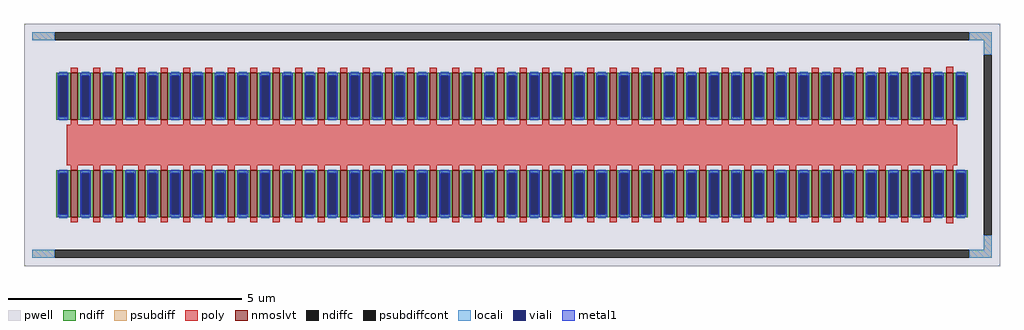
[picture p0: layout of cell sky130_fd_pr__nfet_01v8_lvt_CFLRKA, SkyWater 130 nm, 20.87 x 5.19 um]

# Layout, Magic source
magic
tech sky130A
magscale 1 2
<< pwell >>
rect -2087 -519 2087 519
<< nmoslvt >>
rect -1887 109 -1857 309
rect -1791 109 -1761 309
rect -1695 109 -1665 309
rect -1599 109 -1569 309
rect -1503 109 -1473 309
rect -1407 109 -1377 309
rect -1311 109 -1281 309
rect -1215 109 -1185 309
rect -1119 109 -1089 309
rect -1023 109 -993 309
rect -927 109 -897 309
rect -831 109 -801 309
rect -735 109 -705 309
rect -639 109 -609 309
rect -543 109 -513 309
rect -447 109 -417 309
rect -351 109 -321 309
rect -255 109 -225 309
rect -159 109 -129 309
rect -63 109 -33 309
rect 33 109 63 309
rect 129 109 159 309
rect 225 109 255 309
rect 321 109 351 309
rect 417 109 447 309
rect 513 109 543 309
rect 609 109 639 309
rect 705 109 735 309
rect 801 109 831 309
rect 897 109 927 309
rect 993 109 1023 309
rect 1089 109 1119 309
rect 1185 109 1215 309
rect 1281 109 1311 309
rect 1377 109 1407 309
rect 1473 109 1503 309
rect 1569 109 1599 309
rect 1665 109 1695 309
rect 1761 109 1791 309
rect 1857 109 1887 309
rect -1887 -309 -1857 -109
rect -1791 -309 -1761 -109
rect -1695 -309 -1665 -109
rect -1599 -309 -1569 -109
rect -1503 -309 -1473 -109
rect -1407 -309 -1377 -109
rect -1311 -309 -1281 -109
rect -1215 -309 -1185 -109
rect -1119 -309 -1089 -109
rect -1023 -309 -993 -109
rect -927 -309 -897 -109
rect -831 -309 -801 -109
rect -735 -309 -705 -109
rect -639 -309 -609 -109
rect -543 -309 -513 -109
rect -447 -309 -417 -109
rect -351 -309 -321 -109
rect -255 -309 -225 -109
rect -159 -309 -129 -109
rect -63 -309 -33 -109
rect 33 -309 63 -109
rect 129 -309 159 -109
rect 225 -309 255 -109
rect 321 -309 351 -109
rect 417 -309 447 -109
rect 513 -309 543 -109
rect 609 -309 639 -109
rect 705 -309 735 -109
rect 801 -309 831 -109
rect 897 -309 927 -109
rect 993 -309 1023 -109
rect 1089 -309 1119 -109
rect 1185 -309 1215 -109
rect 1281 -309 1311 -109
rect 1377 -309 1407 -109
rect 1473 -309 1503 -109
rect 1569 -309 1599 -109
rect 1665 -309 1695 -109
rect 1761 -309 1791 -109
rect 1857 -309 1887 -109
<< ndiff >>
rect -1949 297 -1887 309
rect -1949 121 -1937 297
rect -1903 121 -1887 297
rect -1949 109 -1887 121
rect -1857 297 -1791 309
rect -1857 121 -1841 297
rect -1807 121 -1791 297
rect -1857 109 -1791 121
rect -1761 297 -1695 309
rect -1761 121 -1745 297
rect -1711 121 -1695 297
rect -1761 109 -1695 121
rect -1665 297 -1599 309
rect -1665 121 -1649 297
rect -1615 121 -1599 297
rect -1665 109 -1599 121
rect -1569 297 -1503 309
rect -1569 121 -1553 297
rect -1519 121 -1503 297
rect -1569 109 -1503 121
rect -1473 297 -1407 309
rect -1473 121 -1457 297
rect -1423 121 -1407 297
rect -1473 109 -1407 121
rect -1377 297 -1311 309
rect -1377 121 -1361 297
rect -1327 121 -1311 297
rect -1377 109 -1311 121
rect -1281 297 -1215 309
rect -1281 121 -1265 297
rect -1231 121 -1215 297
rect -1281 109 -1215 121
rect -1185 297 -1119 309
rect -1185 121 -1169 297
rect -1135 121 -1119 297
rect -1185 109 -1119 121
rect -1089 297 -1023 309
rect -1089 121 -1073 297
rect -1039 121 -1023 297
rect -1089 109 -1023 121
rect -993 297 -927 309
rect -993 121 -977 297
rect -943 121 -927 297
rect -993 109 -927 121
rect -897 297 -831 309
rect -897 121 -881 297
rect -847 121 -831 297
rect -897 109 -831 121
rect -801 297 -735 309
rect -801 121 -785 297
rect -751 121 -735 297
rect -801 109 -735 121
rect -705 297 -639 309
rect -705 121 -689 297
rect -655 121 -639 297
rect -705 109 -639 121
rect -609 297 -543 309
rect -609 121 -593 297
rect -559 121 -543 297
rect -609 109 -543 121
rect -513 297 -447 309
rect -513 121 -497 297
rect -463 121 -447 297
rect -513 109 -447 121
rect -417 297 -351 309
rect -417 121 -401 297
rect -367 121 -351 297
rect -417 109 -351 121
rect -321 297 -255 309
rect -321 121 -305 297
rect -271 121 -255 297
rect -321 109 -255 121
rect -225 297 -159 309
rect -225 121 -209 297
rect -175 121 -159 297
rect -225 109 -159 121
rect -129 297 -63 309
rect -129 121 -113 297
rect -79 121 -63 297
rect -129 109 -63 121
rect -33 297 33 309
rect -33 121 -17 297
rect 17 121 33 297
rect -33 109 33 121
rect 63 297 129 309
rect 63 121 79 297
rect 113 121 129 297
rect 63 109 129 121
rect 159 297 225 309
rect 159 121 175 297
rect 209 121 225 297
rect 159 109 225 121
rect 255 297 321 309
rect 255 121 271 297
rect 305 121 321 297
rect 255 109 321 121
rect 351 297 417 309
rect 351 121 367 297
rect 401 121 417 297
rect 351 109 417 121
rect 447 297 513 309
rect 447 121 463 297
rect 497 121 513 297
rect 447 109 513 121
rect 543 297 609 309
rect 543 121 559 297
rect 593 121 609 297
rect 543 109 609 121
rect 639 297 705 309
rect 639 121 655 297
rect 689 121 705 297
rect 639 109 705 121
rect 735 297 801 309
rect 735 121 751 297
rect 785 121 801 297
rect 735 109 801 121
rect 831 297 897 309
rect 831 121 847 297
rect 881 121 897 297
rect 831 109 897 121
rect 927 297 993 309
rect 927 121 943 297
rect 977 121 993 297
rect 927 109 993 121
rect 1023 297 1089 309
rect 1023 121 1039 297
rect 1073 121 1089 297
rect 1023 109 1089 121
rect 1119 297 1185 309
rect 1119 121 1135 297
rect 1169 121 1185 297
rect 1119 109 1185 121
rect 1215 297 1281 309
rect 1215 121 1231 297
rect 1265 121 1281 297
rect 1215 109 1281 121
rect 1311 297 1377 309
rect 1311 121 1327 297
rect 1361 121 1377 297
rect 1311 109 1377 121
rect 1407 297 1473 309
rect 1407 121 1423 297
rect 1457 121 1473 297
rect 1407 109 1473 121
rect 1503 297 1569 309
rect 1503 121 1519 297
rect 1553 121 1569 297
rect 1503 109 1569 121
rect 1599 297 1665 309
rect 1599 121 1615 297
rect 1649 121 1665 297
rect 1599 109 1665 121
rect 1695 297 1761 309
rect 1695 121 1711 297
rect 1745 121 1761 297
rect 1695 109 1761 121
rect 1791 297 1857 309
rect 1791 121 1807 297
rect 1841 121 1857 297
rect 1791 109 1857 121
rect 1887 297 1949 309
rect 1887 121 1903 297
rect 1937 121 1949 297
rect 1887 109 1949 121
rect -1949 -121 -1887 -109
rect -1949 -297 -1937 -121
rect -1903 -297 -1887 -121
rect -1949 -309 -1887 -297
rect -1857 -121 -1791 -109
rect -1857 -297 -1841 -121
rect -1807 -297 -1791 -121
rect -1857 -309 -1791 -297
rect -1761 -121 -1695 -109
rect -1761 -297 -1745 -121
rect -1711 -297 -1695 -121
rect -1761 -309 -1695 -297
rect -1665 -121 -1599 -109
rect -1665 -297 -1649 -121
rect -1615 -297 -1599 -121
rect -1665 -309 -1599 -297
rect -1569 -121 -1503 -109
rect -1569 -297 -1553 -121
rect -1519 -297 -1503 -121
rect -1569 -309 -1503 -297
rect -1473 -121 -1407 -109
rect -1473 -297 -1457 -121
rect -1423 -297 -1407 -121
rect -1473 -309 -1407 -297
rect -1377 -121 -1311 -109
rect -1377 -297 -1361 -121
rect -1327 -297 -1311 -121
rect -1377 -309 -1311 -297
rect -1281 -121 -1215 -109
rect -1281 -297 -1265 -121
rect -1231 -297 -1215 -121
rect -1281 -309 -1215 -297
rect -1185 -121 -1119 -109
rect -1185 -297 -1169 -121
rect -1135 -297 -1119 -121
rect -1185 -309 -1119 -297
rect -1089 -121 -1023 -109
rect -1089 -297 -1073 -121
rect -1039 -297 -1023 -121
rect -1089 -309 -1023 -297
rect -993 -121 -927 -109
rect -993 -297 -977 -121
rect -943 -297 -927 -121
rect -993 -309 -927 -297
rect -897 -121 -831 -109
rect -897 -297 -881 -121
rect -847 -297 -831 -121
rect -897 -309 -831 -297
rect -801 -121 -735 -109
rect -801 -297 -785 -121
rect -751 -297 -735 -121
rect -801 -309 -735 -297
rect -705 -121 -639 -109
rect -705 -297 -689 -121
rect -655 -297 -639 -121
rect -705 -309 -639 -297
rect -609 -121 -543 -109
rect -609 -297 -593 -121
rect -559 -297 -543 -121
rect -609 -309 -543 -297
rect -513 -121 -447 -109
rect -513 -297 -497 -121
rect -463 -297 -447 -121
rect -513 -309 -447 -297
rect -417 -121 -351 -109
rect -417 -297 -401 -121
rect -367 -297 -351 -121
rect -417 -309 -351 -297
rect -321 -121 -255 -109
rect -321 -297 -305 -121
rect -271 -297 -255 -121
rect -321 -309 -255 -297
rect -225 -121 -159 -109
rect -225 -297 -209 -121
rect -175 -297 -159 -121
rect -225 -309 -159 -297
rect -129 -121 -63 -109
rect -129 -297 -113 -121
rect -79 -297 -63 -121
rect -129 -309 -63 -297
rect -33 -121 33 -109
rect -33 -297 -17 -121
rect 17 -297 33 -121
rect -33 -309 33 -297
rect 63 -121 129 -109
rect 63 -297 79 -121
rect 113 -297 129 -121
rect 63 -309 129 -297
rect 159 -121 225 -109
rect 159 -297 175 -121
rect 209 -297 225 -121
rect 159 -309 225 -297
rect 255 -121 321 -109
rect 255 -297 271 -121
rect 305 -297 321 -121
rect 255 -309 321 -297
rect 351 -121 417 -109
rect 351 -297 367 -121
rect 401 -297 417 -121
rect 351 -309 417 -297
rect 447 -121 513 -109
rect 447 -297 463 -121
rect 497 -297 513 -121
rect 447 -309 513 -297
rect 543 -121 609 -109
rect 543 -297 559 -121
rect 593 -297 609 -121
rect 543 -309 609 -297
rect 639 -121 705 -109
rect 639 -297 655 -121
rect 689 -297 705 -121
rect 639 -309 705 -297
rect 735 -121 801 -109
rect 735 -297 751 -121
rect 785 -297 801 -121
rect 735 -309 801 -297
rect 831 -121 897 -109
rect 831 -297 847 -121
rect 881 -297 897 -121
rect 831 -309 897 -297
rect 927 -121 993 -109
rect 927 -297 943 -121
rect 977 -297 993 -121
rect 927 -309 993 -297
rect 1023 -121 1089 -109
rect 1023 -297 1039 -121
rect 1073 -297 1089 -121
rect 1023 -309 1089 -297
rect 1119 -121 1185 -109
rect 1119 -297 1135 -121
rect 1169 -297 1185 -121
rect 1119 -309 1185 -297
rect 1215 -121 1281 -109
rect 1215 -297 1231 -121
rect 1265 -297 1281 -121
rect 1215 -309 1281 -297
rect 1311 -121 1377 -109
rect 1311 -297 1327 -121
rect 1361 -297 1377 -121
rect 1311 -309 1377 -297
rect 1407 -121 1473 -109
rect 1407 -297 1423 -121
rect 1457 -297 1473 -121
rect 1407 -309 1473 -297
rect 1503 -121 1569 -109
rect 1503 -297 1519 -121
rect 1553 -297 1569 -121
rect 1503 -309 1569 -297
rect 1599 -121 1665 -109
rect 1599 -297 1615 -121
rect 1649 -297 1665 -121
rect 1599 -309 1665 -297
rect 1695 -121 1761 -109
rect 1695 -297 1711 -121
rect 1745 -297 1761 -121
rect 1695 -309 1761 -297
rect 1791 -121 1857 -109
rect 1791 -297 1807 -121
rect 1841 -297 1857 -121
rect 1791 -309 1857 -297
rect 1887 -121 1949 -109
rect 1887 -297 1903 -121
rect 1937 -297 1949 -121
rect 1887 -309 1949 -297
<< ndiffc >>
rect -1937 121 -1903 297
rect -1841 121 -1807 297
rect -1745 121 -1711 297
rect -1649 121 -1615 297
rect -1553 121 -1519 297
rect -1457 121 -1423 297
rect -1361 121 -1327 297
rect -1265 121 -1231 297
rect -1169 121 -1135 297
rect -1073 121 -1039 297
rect -977 121 -943 297
rect -881 121 -847 297
rect -785 121 -751 297
rect -689 121 -655 297
rect -593 121 -559 297
rect -497 121 -463 297
rect -401 121 -367 297
rect -305 121 -271 297
rect -209 121 -175 297
rect -113 121 -79 297
rect -17 121 17 297
rect 79 121 113 297
rect 175 121 209 297
rect 271 121 305 297
rect 367 121 401 297
rect 463 121 497 297
rect 559 121 593 297
rect 655 121 689 297
rect 751 121 785 297
rect 847 121 881 297
rect 943 121 977 297
rect 1039 121 1073 297
rect 1135 121 1169 297
rect 1231 121 1265 297
rect 1327 121 1361 297
rect 1423 121 1457 297
rect 1519 121 1553 297
rect 1615 121 1649 297
rect 1711 121 1745 297
rect 1807 121 1841 297
rect 1903 121 1937 297
rect -1937 -297 -1903 -121
rect -1841 -297 -1807 -121
rect -1745 -297 -1711 -121
rect -1649 -297 -1615 -121
rect -1553 -297 -1519 -121
rect -1457 -297 -1423 -121
rect -1361 -297 -1327 -121
rect -1265 -297 -1231 -121
rect -1169 -297 -1135 -121
rect -1073 -297 -1039 -121
rect -977 -297 -943 -121
rect -881 -297 -847 -121
rect -785 -297 -751 -121
rect -689 -297 -655 -121
rect -593 -297 -559 -121
rect -497 -297 -463 -121
rect -401 -297 -367 -121
rect -305 -297 -271 -121
rect -209 -297 -175 -121
rect -113 -297 -79 -121
rect -17 -297 17 -121
rect 79 -297 113 -121
rect 175 -297 209 -121
rect 271 -297 305 -121
rect 367 -297 401 -121
rect 463 -297 497 -121
rect 559 -297 593 -121
rect 655 -297 689 -121
rect 751 -297 785 -121
rect 847 -297 881 -121
rect 943 -297 977 -121
rect 1039 -297 1073 -121
rect 1135 -297 1169 -121
rect 1231 -297 1265 -121
rect 1327 -297 1361 -121
rect 1423 -297 1457 -121
rect 1519 -297 1553 -121
rect 1615 -297 1649 -121
rect 1711 -297 1745 -121
rect 1807 -297 1841 -121
rect 1903 -297 1937 -121
<< psubdiff >>
rect -2051 449 -1955 483
rect 1955 449 2051 483
rect 2017 387 2051 449
rect 2017 -449 2051 -387
rect -2051 -483 -1955 -449
rect 1955 -483 2051 -449
<< psubdiffcont >>
rect -1955 449 1955 483
rect 2017 -387 2051 387
rect -1955 -483 1955 -449
<< poly >>
rect -1887 309 -1857 331
rect -1791 309 -1761 331
rect -1695 309 -1665 331
rect -1599 309 -1569 331
rect -1503 309 -1473 331
rect -1407 309 -1377 331
rect -1311 309 -1281 331
rect -1215 309 -1185 331
rect -1119 309 -1089 331
rect -1023 309 -993 331
rect -927 309 -897 331
rect -831 309 -801 331
rect -735 309 -705 331
rect -639 309 -609 331
rect -543 309 -513 331
rect -447 309 -417 331
rect -351 309 -321 331
rect -255 309 -225 331
rect -159 309 -129 331
rect -63 309 -33 331
rect 33 309 63 331
rect 129 309 159 331
rect 225 309 255 331
rect 321 309 351 331
rect 417 309 447 331
rect 513 309 543 331
rect 609 309 639 331
rect 705 309 735 331
rect 801 309 831 331
rect 897 309 927 331
rect 993 309 1023 331
rect 1089 309 1119 331
rect 1185 309 1215 331
rect 1281 309 1311 331
rect 1377 309 1407 331
rect 1473 309 1503 331
rect 1569 309 1599 331
rect 1665 309 1695 331
rect 1761 309 1791 331
rect 1857 309 1887 335
rect -1887 87 -1857 109
rect -1791 87 -1761 109
rect -1695 87 -1665 109
rect -1599 87 -1569 109
rect -1503 87 -1473 109
rect -1407 87 -1377 109
rect -1311 87 -1281 109
rect -1215 87 -1185 109
rect -1119 87 -1089 109
rect -1023 87 -993 109
rect -927 87 -897 109
rect -831 87 -801 109
rect -735 87 -705 109
rect -639 87 -609 109
rect -543 87 -513 109
rect -447 87 -417 109
rect -351 87 -321 109
rect -255 87 -225 109
rect -159 87 -129 109
rect -63 87 -33 109
rect 33 87 63 109
rect 129 87 159 109
rect 225 87 255 109
rect 321 87 351 109
rect 417 87 447 109
rect 513 87 543 109
rect 609 87 639 109
rect 705 87 735 109
rect 801 87 831 109
rect 897 87 927 109
rect 993 87 1023 109
rect 1089 87 1119 109
rect 1185 87 1215 109
rect 1281 87 1311 109
rect 1377 87 1407 109
rect 1473 87 1503 109
rect 1569 87 1599 109
rect 1665 87 1695 109
rect 1761 87 1791 109
rect 1857 87 1887 109
rect -1905 -87 1905 87
rect -1887 -109 -1857 -87
rect -1791 -109 -1761 -87
rect -1695 -109 -1665 -87
rect -1599 -109 -1569 -87
rect -1503 -109 -1473 -87
rect -1407 -109 -1377 -87
rect -1311 -109 -1281 -87
rect -1215 -109 -1185 -87
rect -1119 -109 -1089 -87
rect -1023 -109 -993 -87
rect -927 -109 -897 -87
rect -831 -109 -801 -87
rect -735 -109 -705 -87
rect -639 -109 -609 -87
rect -543 -109 -513 -87
rect -447 -109 -417 -87
rect -351 -109 -321 -87
rect -255 -109 -225 -87
rect -159 -109 -129 -87
rect -63 -109 -33 -87
rect 33 -109 63 -87
rect 129 -109 159 -87
rect 225 -109 255 -87
rect 321 -109 351 -87
rect 417 -109 447 -87
rect 513 -109 543 -87
rect 609 -109 639 -87
rect 705 -109 735 -87
rect 801 -109 831 -87
rect 897 -109 927 -87
rect 993 -109 1023 -87
rect 1089 -109 1119 -87
rect 1185 -109 1215 -87
rect 1281 -109 1311 -87
rect 1377 -109 1407 -87
rect 1473 -109 1503 -87
rect 1569 -109 1599 -87
rect 1665 -109 1695 -87
rect 1761 -109 1791 -87
rect 1857 -109 1887 -87
rect -1887 -331 -1857 -309
rect -1791 -331 -1761 -309
rect -1695 -331 -1665 -309
rect -1599 -331 -1569 -309
rect -1503 -331 -1473 -309
rect -1407 -331 -1377 -309
rect -1311 -331 -1281 -309
rect -1215 -331 -1185 -309
rect -1119 -331 -1089 -309
rect -1023 -331 -993 -309
rect -927 -331 -897 -309
rect -831 -331 -801 -309
rect -735 -331 -705 -309
rect -639 -331 -609 -309
rect -543 -331 -513 -309
rect -447 -331 -417 -309
rect -351 -331 -321 -309
rect -255 -331 -225 -309
rect -159 -331 -129 -309
rect -63 -331 -33 -309
rect 33 -331 63 -309
rect 129 -331 159 -309
rect 225 -331 255 -309
rect 321 -331 351 -309
rect 417 -331 447 -309
rect 513 -331 543 -309
rect 609 -331 639 -309
rect 705 -331 735 -309
rect 801 -331 831 -309
rect 897 -331 927 -309
rect 993 -331 1023 -309
rect 1089 -331 1119 -309
rect 1185 -331 1215 -309
rect 1281 -331 1311 -309
rect 1377 -331 1407 -309
rect 1473 -331 1503 -309
rect 1569 -331 1599 -309
rect 1665 -331 1695 -309
rect 1761 -331 1791 -309
rect 1857 -335 1887 -309
<< locali >>
rect -2051 449 -1955 483
rect 1955 449 2051 483
rect 2017 387 2051 449
rect -1937 297 -1903 313
rect -1937 105 -1903 121
rect -1841 297 -1807 313
rect -1841 105 -1807 121
rect -1745 297 -1711 313
rect -1745 105 -1711 121
rect -1649 297 -1615 313
rect -1649 105 -1615 121
rect -1553 297 -1519 313
rect -1553 105 -1519 121
rect -1457 297 -1423 313
rect -1457 105 -1423 121
rect -1361 297 -1327 313
rect -1361 105 -1327 121
rect -1265 297 -1231 313
rect -1265 105 -1231 121
rect -1169 297 -1135 313
rect -1169 105 -1135 121
rect -1073 297 -1039 313
rect -1073 105 -1039 121
rect -977 297 -943 313
rect -977 105 -943 121
rect -881 297 -847 313
rect -881 105 -847 121
rect -785 297 -751 313
rect -785 105 -751 121
rect -689 297 -655 313
rect -689 105 -655 121
rect -593 297 -559 313
rect -593 105 -559 121
rect -497 297 -463 313
rect -497 105 -463 121
rect -401 297 -367 313
rect -401 105 -367 121
rect -305 297 -271 313
rect -305 105 -271 121
rect -209 297 -175 313
rect -209 105 -175 121
rect -113 297 -79 313
rect -113 105 -79 121
rect -17 297 17 313
rect -17 105 17 121
rect 79 297 113 313
rect 79 105 113 121
rect 175 297 209 313
rect 175 105 209 121
rect 271 297 305 313
rect 271 105 305 121
rect 367 297 401 313
rect 367 105 401 121
rect 463 297 497 313
rect 463 105 497 121
rect 559 297 593 313
rect 559 105 593 121
rect 655 297 689 313
rect 655 105 689 121
rect 751 297 785 313
rect 751 105 785 121
rect 847 297 881 313
rect 847 105 881 121
rect 943 297 977 313
rect 943 105 977 121
rect 1039 297 1073 313
rect 1039 105 1073 121
rect 1135 297 1169 313
rect 1135 105 1169 121
rect 1231 297 1265 313
rect 1231 105 1265 121
rect 1327 297 1361 313
rect 1327 105 1361 121
rect 1423 297 1457 313
rect 1423 105 1457 121
rect 1519 297 1553 313
rect 1519 105 1553 121
rect 1615 297 1649 313
rect 1615 105 1649 121
rect 1711 297 1745 313
rect 1711 105 1745 121
rect 1807 297 1841 313
rect 1807 105 1841 121
rect 1903 297 1937 313
rect 1903 105 1937 121
rect -1937 -121 -1903 -105
rect -1937 -313 -1903 -297
rect -1841 -121 -1807 -105
rect -1841 -313 -1807 -297
rect -1745 -121 -1711 -105
rect -1745 -313 -1711 -297
rect -1649 -121 -1615 -105
rect -1649 -313 -1615 -297
rect -1553 -121 -1519 -105
rect -1553 -313 -1519 -297
rect -1457 -121 -1423 -105
rect -1457 -313 -1423 -297
rect -1361 -121 -1327 -105
rect -1361 -313 -1327 -297
rect -1265 -121 -1231 -105
rect -1265 -313 -1231 -297
rect -1169 -121 -1135 -105
rect -1169 -313 -1135 -297
rect -1073 -121 -1039 -105
rect -1073 -313 -1039 -297
rect -977 -121 -943 -105
rect -977 -313 -943 -297
rect -881 -121 -847 -105
rect -881 -313 -847 -297
rect -785 -121 -751 -105
rect -785 -313 -751 -297
rect -689 -121 -655 -105
rect -689 -313 -655 -297
rect -593 -121 -559 -105
rect -593 -313 -559 -297
rect -497 -121 -463 -105
rect -497 -313 -463 -297
rect -401 -121 -367 -105
rect -401 -313 -367 -297
rect -305 -121 -271 -105
rect -305 -313 -271 -297
rect -209 -121 -175 -105
rect -209 -313 -175 -297
rect -113 -121 -79 -105
rect -113 -313 -79 -297
rect -17 -121 17 -105
rect -17 -313 17 -297
rect 79 -121 113 -105
rect 79 -313 113 -297
rect 175 -121 209 -105
rect 175 -313 209 -297
rect 271 -121 305 -105
rect 271 -313 305 -297
rect 367 -121 401 -105
rect 367 -313 401 -297
rect 463 -121 497 -105
rect 463 -313 497 -297
rect 559 -121 593 -105
rect 559 -313 593 -297
rect 655 -121 689 -105
rect 655 -313 689 -297
rect 751 -121 785 -105
rect 751 -313 785 -297
rect 847 -121 881 -105
rect 847 -313 881 -297
rect 943 -121 977 -105
rect 943 -313 977 -297
rect 1039 -121 1073 -105
rect 1039 -313 1073 -297
rect 1135 -121 1169 -105
rect 1135 -313 1169 -297
rect 1231 -121 1265 -105
rect 1231 -313 1265 -297
rect 1327 -121 1361 -105
rect 1327 -313 1361 -297
rect 1423 -121 1457 -105
rect 1423 -313 1457 -297
rect 1519 -121 1553 -105
rect 1519 -313 1553 -297
rect 1615 -121 1649 -105
rect 1615 -313 1649 -297
rect 1711 -121 1745 -105
rect 1711 -313 1745 -297
rect 1807 -121 1841 -105
rect 1807 -313 1841 -297
rect 1903 -121 1937 -105
rect 1903 -313 1937 -297
rect 2017 -449 2051 -387
rect -2051 -483 -1955 -449
rect 1955 -483 2051 -449
<< viali >>
rect -1937 121 -1903 297
rect -1841 121 -1807 297
rect -1745 121 -1711 297
rect -1649 121 -1615 297
rect -1553 121 -1519 297
rect -1457 121 -1423 297
rect -1361 121 -1327 297
rect -1265 121 -1231 297
rect -1169 121 -1135 297
rect -1073 121 -1039 297
rect -977 121 -943 297
rect -881 121 -847 297
rect -785 121 -751 297
rect -689 121 -655 297
rect -593 121 -559 297
rect -497 121 -463 297
rect -401 121 -367 297
rect -305 121 -271 297
rect -209 121 -175 297
rect -113 121 -79 297
rect -17 121 17 297
rect 79 121 113 297
rect 175 121 209 297
rect 271 121 305 297
rect 367 121 401 297
rect 463 121 497 297
rect 559 121 593 297
rect 655 121 689 297
rect 751 121 785 297
rect 847 121 881 297
rect 943 121 977 297
rect 1039 121 1073 297
rect 1135 121 1169 297
rect 1231 121 1265 297
rect 1327 121 1361 297
rect 1423 121 1457 297
rect 1519 121 1553 297
rect 1615 121 1649 297
rect 1711 121 1745 297
rect 1807 121 1841 297
rect 1903 121 1937 297
rect -1937 -297 -1903 -121
rect -1841 -297 -1807 -121
rect -1745 -297 -1711 -121
rect -1649 -297 -1615 -121
rect -1553 -297 -1519 -121
rect -1457 -297 -1423 -121
rect -1361 -297 -1327 -121
rect -1265 -297 -1231 -121
rect -1169 -297 -1135 -121
rect -1073 -297 -1039 -121
rect -977 -297 -943 -121
rect -881 -297 -847 -121
rect -785 -297 -751 -121
rect -689 -297 -655 -121
rect -593 -297 -559 -121
rect -497 -297 -463 -121
rect -401 -297 -367 -121
rect -305 -297 -271 -121
rect -209 -297 -175 -121
rect -113 -297 -79 -121
rect -17 -297 17 -121
rect 79 -297 113 -121
rect 175 -297 209 -121
rect 271 -297 305 -121
rect 367 -297 401 -121
rect 463 -297 497 -121
rect 559 -297 593 -121
rect 655 -297 689 -121
rect 751 -297 785 -121
rect 847 -297 881 -121
rect 943 -297 977 -121
rect 1039 -297 1073 -121
rect 1135 -297 1169 -121
rect 1231 -297 1265 -121
rect 1327 -297 1361 -121
rect 1423 -297 1457 -121
rect 1519 -297 1553 -121
rect 1615 -297 1649 -121
rect 1711 -297 1745 -121
rect 1807 -297 1841 -121
rect 1903 -297 1937 -121
<< metal1 >>
rect -1943 297 -1897 309
rect -1943 121 -1937 297
rect -1903 121 -1897 297
rect -1943 109 -1897 121
rect -1847 297 -1801 309
rect -1847 121 -1841 297
rect -1807 121 -1801 297
rect -1847 109 -1801 121
rect -1751 297 -1705 309
rect -1751 121 -1745 297
rect -1711 121 -1705 297
rect -1751 109 -1705 121
rect -1655 297 -1609 309
rect -1655 121 -1649 297
rect -1615 121 -1609 297
rect -1655 109 -1609 121
rect -1559 297 -1513 309
rect -1559 121 -1553 297
rect -1519 121 -1513 297
rect -1559 109 -1513 121
rect -1463 297 -1417 309
rect -1463 121 -1457 297
rect -1423 121 -1417 297
rect -1463 109 -1417 121
rect -1367 297 -1321 309
rect -1367 121 -1361 297
rect -1327 121 -1321 297
rect -1367 109 -1321 121
rect -1271 297 -1225 309
rect -1271 121 -1265 297
rect -1231 121 -1225 297
rect -1271 109 -1225 121
rect -1175 297 -1129 309
rect -1175 121 -1169 297
rect -1135 121 -1129 297
rect -1175 109 -1129 121
rect -1079 297 -1033 309
rect -1079 121 -1073 297
rect -1039 121 -1033 297
rect -1079 109 -1033 121
rect -983 297 -937 309
rect -983 121 -977 297
rect -943 121 -937 297
rect -983 109 -937 121
rect -887 297 -841 309
rect -887 121 -881 297
rect -847 121 -841 297
rect -887 109 -841 121
rect -791 297 -745 309
rect -791 121 -785 297
rect -751 121 -745 297
rect -791 109 -745 121
rect -695 297 -649 309
rect -695 121 -689 297
rect -655 121 -649 297
rect -695 109 -649 121
rect -599 297 -553 309
rect -599 121 -593 297
rect -559 121 -553 297
rect -599 109 -553 121
rect -503 297 -457 309
rect -503 121 -497 297
rect -463 121 -457 297
rect -503 109 -457 121
rect -407 297 -361 309
rect -407 121 -401 297
rect -367 121 -361 297
rect -407 109 -361 121
rect -311 297 -265 309
rect -311 121 -305 297
rect -271 121 -265 297
rect -311 109 -265 121
rect -215 297 -169 309
rect -215 121 -209 297
rect -175 121 -169 297
rect -215 109 -169 121
rect -119 297 -73 309
rect -119 121 -113 297
rect -79 121 -73 297
rect -119 109 -73 121
rect -23 297 23 309
rect -23 121 -17 297
rect 17 121 23 297
rect -23 109 23 121
rect 73 297 119 309
rect 73 121 79 297
rect 113 121 119 297
rect 73 109 119 121
rect 169 297 215 309
rect 169 121 175 297
rect 209 121 215 297
rect 169 109 215 121
rect 265 297 311 309
rect 265 121 271 297
rect 305 121 311 297
rect 265 109 311 121
rect 361 297 407 309
rect 361 121 367 297
rect 401 121 407 297
rect 361 109 407 121
rect 457 297 503 309
rect 457 121 463 297
rect 497 121 503 297
rect 457 109 503 121
rect 553 297 599 309
rect 553 121 559 297
rect 593 121 599 297
rect 553 109 599 121
rect 649 297 695 309
rect 649 121 655 297
rect 689 121 695 297
rect 649 109 695 121
rect 745 297 791 309
rect 745 121 751 297
rect 785 121 791 297
rect 745 109 791 121
rect 841 297 887 309
rect 841 121 847 297
rect 881 121 887 297
rect 841 109 887 121
rect 937 297 983 309
rect 937 121 943 297
rect 977 121 983 297
rect 937 109 983 121
rect 1033 297 1079 309
rect 1033 121 1039 297
rect 1073 121 1079 297
rect 1033 109 1079 121
rect 1129 297 1175 309
rect 1129 121 1135 297
rect 1169 121 1175 297
rect 1129 109 1175 121
rect 1225 297 1271 309
rect 1225 121 1231 297
rect 1265 121 1271 297
rect 1225 109 1271 121
rect 1321 297 1367 309
rect 1321 121 1327 297
rect 1361 121 1367 297
rect 1321 109 1367 121
rect 1417 297 1463 309
rect 1417 121 1423 297
rect 1457 121 1463 297
rect 1417 109 1463 121
rect 1513 297 1559 309
rect 1513 121 1519 297
rect 1553 121 1559 297
rect 1513 109 1559 121
rect 1609 297 1655 309
rect 1609 121 1615 297
rect 1649 121 1655 297
rect 1609 109 1655 121
rect 1705 297 1751 309
rect 1705 121 1711 297
rect 1745 121 1751 297
rect 1705 109 1751 121
rect 1801 297 1847 309
rect 1801 121 1807 297
rect 1841 121 1847 297
rect 1801 109 1847 121
rect 1897 297 1943 309
rect 1897 121 1903 297
rect 1937 121 1943 297
rect 1897 109 1943 121
rect -1943 -121 -1897 -109
rect -1943 -297 -1937 -121
rect -1903 -297 -1897 -121
rect -1943 -309 -1897 -297
rect -1847 -121 -1801 -109
rect -1847 -297 -1841 -121
rect -1807 -297 -1801 -121
rect -1847 -309 -1801 -297
rect -1751 -121 -1705 -109
rect -1751 -297 -1745 -121
rect -1711 -297 -1705 -121
rect -1751 -309 -1705 -297
rect -1655 -121 -1609 -109
rect -1655 -297 -1649 -121
rect -1615 -297 -1609 -121
rect -1655 -309 -1609 -297
rect -1559 -121 -1513 -109
rect -1559 -297 -1553 -121
rect -1519 -297 -1513 -121
rect -1559 -309 -1513 -297
rect -1463 -121 -1417 -109
rect -1463 -297 -1457 -121
rect -1423 -297 -1417 -121
rect -1463 -309 -1417 -297
rect -1367 -121 -1321 -109
rect -1367 -297 -1361 -121
rect -1327 -297 -1321 -121
rect -1367 -309 -1321 -297
rect -1271 -121 -1225 -109
rect -1271 -297 -1265 -121
rect -1231 -297 -1225 -121
rect -1271 -309 -1225 -297
rect -1175 -121 -1129 -109
rect -1175 -297 -1169 -121
rect -1135 -297 -1129 -121
rect -1175 -309 -1129 -297
rect -1079 -121 -1033 -109
rect -1079 -297 -1073 -121
rect -1039 -297 -1033 -121
rect -1079 -309 -1033 -297
rect -983 -121 -937 -109
rect -983 -297 -977 -121
rect -943 -297 -937 -121
rect -983 -309 -937 -297
rect -887 -121 -841 -109
rect -887 -297 -881 -121
rect -847 -297 -841 -121
rect -887 -309 -841 -297
rect -791 -121 -745 -109
rect -791 -297 -785 -121
rect -751 -297 -745 -121
rect -791 -309 -745 -297
rect -695 -121 -649 -109
rect -695 -297 -689 -121
rect -655 -297 -649 -121
rect -695 -309 -649 -297
rect -599 -121 -553 -109
rect -599 -297 -593 -121
rect -559 -297 -553 -121
rect -599 -309 -553 -297
rect -503 -121 -457 -109
rect -503 -297 -497 -121
rect -463 -297 -457 -121
rect -503 -309 -457 -297
rect -407 -121 -361 -109
rect -407 -297 -401 -121
rect -367 -297 -361 -121
rect -407 -309 -361 -297
rect -311 -121 -265 -109
rect -311 -297 -305 -121
rect -271 -297 -265 -121
rect -311 -309 -265 -297
rect -215 -121 -169 -109
rect -215 -297 -209 -121
rect -175 -297 -169 -121
rect -215 -309 -169 -297
rect -119 -121 -73 -109
rect -119 -297 -113 -121
rect -79 -297 -73 -121
rect -119 -309 -73 -297
rect -23 -121 23 -109
rect -23 -297 -17 -121
rect 17 -297 23 -121
rect -23 -309 23 -297
rect 73 -121 119 -109
rect 73 -297 79 -121
rect 113 -297 119 -121
rect 73 -309 119 -297
rect 169 -121 215 -109
rect 169 -297 175 -121
rect 209 -297 215 -121
rect 169 -309 215 -297
rect 265 -121 311 -109
rect 265 -297 271 -121
rect 305 -297 311 -121
rect 265 -309 311 -297
rect 361 -121 407 -109
rect 361 -297 367 -121
rect 401 -297 407 -121
rect 361 -309 407 -297
rect 457 -121 503 -109
rect 457 -297 463 -121
rect 497 -297 503 -121
rect 457 -309 503 -297
rect 553 -121 599 -109
rect 553 -297 559 -121
rect 593 -297 599 -121
rect 553 -309 599 -297
rect 649 -121 695 -109
rect 649 -297 655 -121
rect 689 -297 695 -121
rect 649 -309 695 -297
rect 745 -121 791 -109
rect 745 -297 751 -121
rect 785 -297 791 -121
rect 745 -309 791 -297
rect 841 -121 887 -109
rect 841 -297 847 -121
rect 881 -297 887 -121
rect 841 -309 887 -297
rect 937 -121 983 -109
rect 937 -297 943 -121
rect 977 -297 983 -121
rect 937 -309 983 -297
rect 1033 -121 1079 -109
rect 1033 -297 1039 -121
rect 1073 -297 1079 -121
rect 1033 -309 1079 -297
rect 1129 -121 1175 -109
rect 1129 -297 1135 -121
rect 1169 -297 1175 -121
rect 1129 -309 1175 -297
rect 1225 -121 1271 -109
rect 1225 -297 1231 -121
rect 1265 -297 1271 -121
rect 1225 -309 1271 -297
rect 1321 -121 1367 -109
rect 1321 -297 1327 -121
rect 1361 -297 1367 -121
rect 1321 -309 1367 -297
rect 1417 -121 1463 -109
rect 1417 -297 1423 -121
rect 1457 -297 1463 -121
rect 1417 -309 1463 -297
rect 1513 -121 1559 -109
rect 1513 -297 1519 -121
rect 1553 -297 1559 -121
rect 1513 -309 1559 -297
rect 1609 -121 1655 -109
rect 1609 -297 1615 -121
rect 1649 -297 1655 -121
rect 1609 -309 1655 -297
rect 1705 -121 1751 -109
rect 1705 -297 1711 -121
rect 1745 -297 1751 -121
rect 1705 -309 1751 -297
rect 1801 -121 1847 -109
rect 1801 -297 1807 -121
rect 1841 -297 1847 -121
rect 1801 -309 1847 -297
rect 1897 -121 1943 -109
rect 1897 -297 1903 -121
rect 1937 -297 1943 -121
rect 1897 -309 1943 -297
<< properties >>
string gencell sky130_fd_pr__nfet_01v8_lvt
string FIXED_BBOX -2034 -466 2034 466
string parameters w 1 l 0.150 m 2 nf 40 diffcov 100 polycov 100 guard 1 glc 1 grc 1 gtc 1 gbc 1 tbcov 100 rlcov 100 topc 1 botc 1 poverlap 1 doverlap 1 lmin 0.15 wmin 0.42 compatible {sky130_fd_pr__nfet_01v8 sky130_fd_pr__nfet_01v8_lvt  sky130_fd_bs_flash__special_sonosfet_star  sky130_fd_pr__nfet_g5v0d10v5 sky130_fd_pr__nfet_05v0_nvt  sky130_fd_pr__nfet_03v3_nvt} full_metal 1 viasrc 100 viadrn 100 viagate 100 viagb 0 viagr 0 viagl 0 viagt 0
string library sky130
<< end >>
